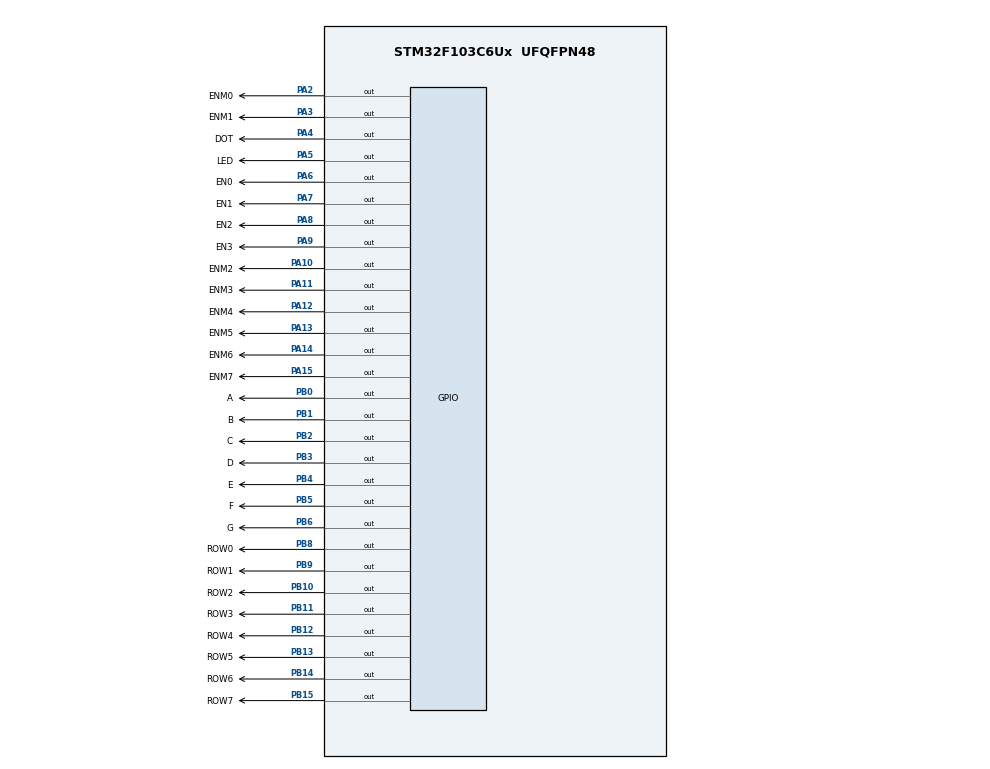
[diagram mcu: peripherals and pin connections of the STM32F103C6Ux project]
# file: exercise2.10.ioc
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Mcu.Family=STM32F1
Mcu.Name=STM32F103C6Ux
Mcu.Package=UFQFPN48
NVIC.PriorityGroup=NVIC_PRIORITYGROUP_4
NVIC.TIM2_IRQn=true\:0\:0\:false\:false\:true\:true\:true
PA10.GPIO_Label=ENM2
PA10.Signal=GPIO_Output
PA11.GPIO_Label=ENM3
PA11.Signal=GPIO_Output
PA12.GPIO_Label=ENM4
PA12.Signal=GPIO_Output
PA13.GPIO_Label=ENM5
PA13.Signal=GPIO_Output
PA14.GPIO_Label=ENM6
PA14.Signal=GPIO_Output
PA15.GPIO_Label=ENM7
PA15.Signal=GPIO_Output
PA2.GPIO_Label=ENM0
PA2.Signal=GPIO_Output
PA3.GPIO_Label=ENM1
PA3.Signal=GPIO_Output
PA4.GPIO_Label=DOT
PA4.Signal=GPIO_Output
PA5.GPIO_Label=LED
PA5.Signal=GPIO_Output
PA6.GPIO_Label=EN0
PA6.Signal=GPIO_Output
PA7.GPIO_Label=EN1
PA7.Signal=GPIO_Output
PA8.GPIO_Label=EN2
PA8.Signal=GPIO_Output
PA9.GPIO_Label=EN3
PA9.Signal=GPIO_Output
PB0.GPIO_Label=A
PB0.Signal=GPIO_Output
PB1.GPIO_Label=B
PB1.Signal=GPIO_Output
PB10.GPIO_Label=ROW2
PB10.Signal=GPIO_Output
PB11.GPIO_Label=ROW3
PB11.Signal=GPIO_Output
PB12.GPIO_Label=ROW4
PB12.Signal=GPIO_Output
PB13.GPIO_Label=ROW5
PB13.Signal=GPIO_Output
PB14.GPIO_Label=ROW6
PB14.Signal=GPIO_Output
PB15.GPIO_Label=ROW7
PB15.Signal=GPIO_Output
PB2.GPIO_Label=C
PB2.Signal=GPIO_Output
PB3.GPIO_Label=D
PB3.Signal=GPIO_Output
PB4.GPIO_Label=E
PB4.Signal=GPIO_Output
PB5.GPIO_Label=F
PB5.Signal=GPIO_Output
PB6.GPIO_Label=G
PB6.Signal=GPIO_Output
PB8.GPIO_Label=ROW0
PB8.Signal=GPIO_Output
PB9.GPIO_Label=ROW1
PB9.Signal=GPIO_Output
ProjectManager.HeapSize=0x200
ProjectManager.StackSize=0x400
ProjectManager.TargetToolchain=STM32CubeIDE
RCC.APB1Freq_Value=8000000
RCC.APB2Freq_Value=8000000
TIM2.Period=9
TIM2.Prescaler=7999
VP_SYS_VS_ND.Mode=No_Debug
VP_TIM2_VS_ClockSourceINT.Mode=Internal
board=custom

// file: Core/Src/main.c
/* USER CODE BEGIN Header */
/**
  ******************************************************************************
  * @file           : main.c
  * @brief          : Main program body
  ******************************************************************************
  * @attention
  *
  * <h2><center>&copy; Copyright (c) 2025 STMicroelectronics.
  * All rights reserved.</center></h2>
  *
  * This software component is licensed by ST under BSD 3-Clause license,
  * the "License"; You may not use this file except in compliance with the
  * License. You may obtain a copy of the License at:
  *                        opensource.org/licenses/BSD-3-Clause
  *
  ******************************************************************************
  */
/* USER CODE END Header */
#include "main.h"

TIM_HandleTypeDef htim2;

/* USER CODE BEGIN PV */
void display7SEG(int num);
void update7SEG(int num);
void updateClockBuffer(int hour, int minute);
int timer_matrix_counter = 0;
int timer_matrix_flag = 0;
const int TIMER_CYCLE = 10;
void setTimerMatrix(int duration){
    timer_matrix_counter = duration / TIMER_CYCLE;
    timer_matrix_flag = 0;
}

void timer_matrix_run(){
    if(timer_matrix_counter > 0){
        timer_matrix_counter--;
        if(timer_matrix_counter == 0) timer_matrix_flag = 1;
    }
}

int scroll_offset = 0;
int scroll_direction = 1;
/* USER CODE END PV */

void SystemClock_Config(void);
static void MX_GPIO_Init(void);
static void MX_TIM2_Init(void);

/* USER CODE BEGIN 0 */
const uint8_t seg_table[10]={
			0b1000000,
			0b1111001,
			0b0100100,
			0b0110000,
			0b0011001,
			0b0010010,
			0b0000010,
			0b1111000,
			0b0000000,
			0b0010000
};
uint16_t seg_pins[7] ={A_Pin, B_Pin, C_Pin, D_Pin, E_Pin, F_Pin, G_Pin};
int timer0_counter =0;
int timer0_flag =0;
int timer1_counter =0;
int timer1_flag = 0;
const int MAX_LED = 4;
int led_index =0;
int shift_count = 0;
int led_buffer[4] = {0,0,0,0};
void setTimer0(int duration){
	timer0_counter = duration/ TIMER_CYCLE;
	timer0_flag =0;
}
void setTimer1(int duration){
	timer1_counter = duration / TIMER_CYCLE;
	timer1_flag = 0;
}
void timer_run(){
	if(timer0_counter >0){
		timer0_counter--;
		if(timer0_counter ==0) timer0_flag =1;
	}
	if(timer1_counter >0){
		timer1_counter--;
		if(timer1_counter ==0) timer1_flag =1;
	}
}
const int MAX_LED_MATRIX =8;
int led_index_matrix =0;
uint8_t matrix_buffer[8] ={
		  0b00011000,
		  0b00111100,
		  0b01100110,
		  0b01100110,
		  0b01111110,
		  0b01111110,
		  0b01100110,
		  0b01100110
};

uint8_t temp_buffer[3];
uint16_t row_pins[8] = {
  ROW0_Pin, ROW1_Pin, ROW2_Pin, ROW3_Pin,
  ROW4_Pin, ROW5_Pin, ROW6_Pin, ROW7_Pin
};
uint16_t col_pins[8] = {
  ENM0_Pin, ENM1_Pin, ENM2_Pin, ENM3_Pin,
  ENM4_Pin, ENM5_Pin, ENM6_Pin, ENM7_Pin
};
void updateLEDMatrix(int index){
	 HAL_GPIO_WritePin(GPIOA, ENM0_Pin|ENM1_Pin|ENM2_Pin|ENM3_Pin|
	                              ENM4_Pin|ENM5_Pin|ENM6_Pin|ENM7_Pin, SET);

	 for(int row=0; row<8; row++){
		 if(matrix_buffer[index] & (1<<row)){
			 HAL_GPIO_WritePin(GPIOB, row_pins[row], RESET);
		 }else{
			 HAL_GPIO_WritePin(GPIOB, row_pins[row], SET);
		 }
	 }
	switch(index){

	case 0:
		HAL_GPIO_WritePin(GPIOA, ENM0_Pin, RESET);
		break;
	case 1:
		HAL_GPIO_WritePin(GPIOA, ENM1_Pin, RESET);
				break;
	case 2:
		HAL_GPIO_WritePin(GPIOA, ENM2_Pin, RESET);
				break;
	case 3:
		HAL_GPIO_WritePin(GPIOA, ENM3_Pin, RESET);
				break;
	case 4:
		HAL_GPIO_WritePin(GPIOA, ENM4_Pin, RESET);
				break;
	case 5:
		HAL_GPIO_WritePin(GPIOA, ENM5_Pin, RESET);
				break;
	case 6:
		HAL_GPIO_WritePin(GPIOA, ENM6_Pin, RESET);
				break;
	case 7:
		HAL_GPIO_WritePin(GPIOA, ENM7_Pin, RESET);
				break;
	default:
		break;
	}
}

void shiftleft(){
	uint8_t first  = matrix_buffer[0];

	for(int i = 0; i < 7; i++){
		matrix_buffer[i] = matrix_buffer[i+1];
	}
	matrix_buffer[0] = temp_buffer[2];

	for(int i = 0; i < 2; i++){
		temp_buffer[i] = temp_buffer[i+1];
	}
	temp_buffer[2] = first;
}
/* USER CODE END 0 */

int main(void)
{

  /* MCU Configuration--------------------------------------------------------*/

  /* Reset of all peripherals, Initializes the Flash interface and the Systick. */
  HAL_Init();

  /* Configure the system clock */
  SystemClock_Config();

  /* Initialize all configured peripherals */
  MX_GPIO_Init();
  MX_TIM2_Init();
  /* USER CODE BEGIN 2 */
  HAL_TIM_Base_Start_IT(&htim2);
       setTimer0(300);
       setTimer1(250);
       setTimerMatrix(300);
  /* USER CODE END 2 */

  /* Infinite loop */
  /* USER CODE BEGIN WHILE */
    int hour =15, minute = 8, second = 50;
    while (1)
    {
        if (timer_matrix_flag == 1) {
            timer_matrix_flag = 0;
            setTimerMatrix(300);

            shiftleft();

            updateLEDMatrix(led_index_matrix);
            led_index_matrix++;
            if (led_index_matrix >= MAX_LED_MATRIX) led_index_matrix = 0;
        }

        if (timer1_flag == 1) {
            timer1_flag = 0;
            setTimer1(250);

            update7SEG(led_index);
            led_index++;
            if (led_index >= MAX_LED) led_index = 0;
        }

        if (timer0_flag == 1) {
            timer0_flag = 0;
            setTimer0(1000);
            second++;
            if (second >= 60) {
                second = 0;
                minute++;
                if (minute >= 60) {
                    minute = 0;
                    hour++;
                    if (hour >= 24) hour = 0;
                }
            }
            updateClockBuffer(hour, minute);
            HAL_GPIO_TogglePin(GPIOA, LED_Pin);
            HAL_GPIO_TogglePin(GPIOA, DOT_Pin);
        }
    }

}
  /* USER CODE END 3 */

void SystemClock_Config(void)
{
  RCC_OscInitTypeDef RCC_OscInitStruct = {0};
  RCC_ClkInitTypeDef RCC_ClkInitStruct = {0};

  /** Initializes the RCC Oscillators according to the specified parameters
  * in the RCC_OscInitTypeDef structure.
  */
  RCC_OscInitStruct.OscillatorType = RCC_OSCILLATORTYPE_HSI;
  RCC_OscInitStruct.HSIState = RCC_HSI_ON;
  RCC_OscInitStruct.HSICalibrationValue = RCC_HSICALIBRATION_DEFAULT;
  RCC_OscInitStruct.PLL.PLLState = RCC_PLL_NONE;
  if (HAL_RCC_OscConfig(&RCC_OscInitStruct) != HAL_OK)
  {
    Error_Handler();
  }
  /** Initializes the CPU, AHB and APB buses clocks
  */
  RCC_ClkInitStruct.ClockType = RCC_CLOCKTYPE_HCLK|RCC_CLOCKTYPE_SYSCLK
                              |RCC_CLOCKTYPE_PCLK1|RCC_CLOCKTYPE_PCLK2;
  RCC_ClkInitStruct.SYSCLKSource = RCC_SYSCLKSOURCE_HSI;
  RCC_ClkInitStruct.AHBCLKDivider = RCC_SYSCLK_DIV1;
  RCC_ClkInitStruct.APB1CLKDivider = RCC_HCLK_DIV1;
  RCC_ClkInitStruct.APB2CLKDivider = RCC_HCLK_DIV1;

  if (HAL_RCC_ClockConfig(&RCC_ClkInitStruct, FLASH_LATENCY_0) != HAL_OK)
  {
    Error_Handler();
  }
}

static void MX_TIM2_Init(void)
{

  TIM_ClockConfigTypeDef sClockSourceConfig = {0};
  TIM_MasterConfigTypeDef sMasterConfig = {0};

  htim2.Instance = TIM2;
  htim2.Init.Prescaler = 7999;
  htim2.Init.CounterMode = TIM_COUNTERMODE_UP;
  htim2.Init.Period = 9;
  htim2.Init.ClockDivision = TIM_CLOCKDIVISION_DIV1;
  htim2.Init.AutoReloadPreload = TIM_AUTORELOAD_PRELOAD_DISABLE;
  if (HAL_TIM_Base_Init(&htim2) != HAL_OK)
  {
    Error_Handler();
  }
  sClockSourceConfig.ClockSource = TIM_CLOCKSOURCE_INTERNAL;
  if (HAL_TIM_ConfigClockSource(&htim2, &sClockSourceConfig) != HAL_OK)
  {
    Error_Handler();
  }
  sMasterConfig.MasterOutputTrigger = TIM_TRGO_RESET;
  sMasterConfig.MasterSlaveMode = TIM_MASTERSLAVEMODE_DISABLE;
  if (HAL_TIMEx_MasterConfigSynchronization(&htim2, &sMasterConfig) != HAL_OK)
  {
    Error_Handler();
  }

}

static void MX_GPIO_Init(void)
{
  GPIO_InitTypeDef GPIO_InitStruct = {0};

  /* GPIO Ports Clock Enable */
  __HAL_RCC_GPIOA_CLK_ENABLE();
  __HAL_RCC_GPIOB_CLK_ENABLE();

  /*Configure GPIO pin Output Level */
  HAL_GPIO_WritePin(GPIOA, ENM0_Pin|ENM1_Pin|DOT_Pin|LED_Pin
                          |EN0_Pin|EN1_Pin|EN2_Pin|EN3_Pin
                          |ENM2_Pin|ENM3_Pin|ENM4_Pin|ENM5_Pin
                          |ENM6_Pin|ENM7_Pin, GPIO_PIN_RESET);

  /*Configure GPIO pin Output Level */
  HAL_GPIO_WritePin(GPIOB, A_Pin|B_Pin|C_Pin|ROW2_Pin
                          |ROW3_Pin|ROW4_Pin|ROW5_Pin|ROW6_Pin
                          |ROW7_Pin|D_Pin|E_Pin|F_Pin
                          |G_Pin|ROW0_Pin|ROW1_Pin, GPIO_PIN_RESET);

  /*Configure GPIO pins : ENM0_Pin ENM1_Pin DOT_Pin LED_Pin
                           EN0_Pin EN1_Pin EN2_Pin EN3_Pin
                           ENM2_Pin ENM3_Pin ENM4_Pin ENM5_Pin
                           ENM6_Pin ENM7_Pin */
  GPIO_InitStruct.Pin = ENM0_Pin|ENM1_Pin|DOT_Pin|LED_Pin
                          |EN0_Pin|EN1_Pin|EN2_Pin|EN3_Pin
                          |ENM2_Pin|ENM3_Pin|ENM4_Pin|ENM5_Pin
                          |ENM6_Pin|ENM7_Pin;
  GPIO_InitStruct.Mode = GPIO_MODE_OUTPUT_PP;
  GPIO_InitStruct.Pull = GPIO_NOPULL;
  GPIO_InitStruct.Speed = GPIO_SPEED_FREQ_LOW;
  HAL_GPIO_Init(GPIOA, &GPIO_InitStruct);

  /*Configure GPIO pins : A_Pin B_Pin C_Pin ROW2_Pin
                           ROW3_Pin ROW4_Pin ROW5_Pin ROW6_Pin
                           ROW7_Pin D_Pin E_Pin F_Pin
                           G_Pin ROW0_Pin ROW1_Pin */
  GPIO_InitStruct.Pin = A_Pin|B_Pin|C_Pin|ROW2_Pin
                          |ROW3_Pin|ROW4_Pin|ROW5_Pin|ROW6_Pin
                          |ROW7_Pin|D_Pin|E_Pin|F_Pin
                          |G_Pin|ROW0_Pin|ROW1_Pin;
  GPIO_InitStruct.Mode = GPIO_MODE_OUTPUT_PP;
  GPIO_InitStruct.Pull = GPIO_NOPULL;
  GPIO_InitStruct.Speed = GPIO_SPEED_FREQ_LOW;
  HAL_GPIO_Init(GPIOB, &GPIO_InitStruct);

}

/* USER CODE BEGIN 4 */
void HAL_TIM_PeriodElapsedCallback(TIM_HandleTypeDef *htim){
    if(htim->Instance == TIM2){
        timer_run();
        timer_matrix_run();

        updateLEDMatrix(led_index_matrix);
        led_index_matrix++;
        if(led_index_matrix >= MAX_LED_MATRIX) led_index_matrix = 0;
    }
}
void display7SEG(int num){
	uint8_t pattern= seg_table[num];
		for(int i=0; i< 7; i++){
			if( pattern & (1<<i) )
				HAL_GPIO_WritePin(GPIOB, seg_pins[i], SET);
			else
				HAL_GPIO_WritePin(GPIOB, seg_pins[i], RESET);
		}
}
void update7SEG(int index){
	HAL_GPIO_WritePin(GPIOA, EN0_Pin | EN1_Pin | EN2_Pin | EN3_Pin, SET);
	  if(index < 0 || index >= MAX_LED) return;
	  display7SEG( led_buffer[index] );
	switch (index){
	case 0:
		HAL_GPIO_WritePin(GPIOA, EN0_Pin, RESET);
		break;
	case 1:
		HAL_GPIO_WritePin(GPIOA, EN1_Pin, RESET);
		break;
	case 2:
		HAL_GPIO_WritePin(GPIOA, EN2_Pin, RESET);
		break;
	case 3:
		HAL_GPIO_WritePin(GPIOA, EN3_Pin, RESET);
		break;
	default:
		break;
	}
}
void updateClockBuffer(int hour, int minute){
	 	if(hour < 0) hour = 0;
	    if(minute < 0) minute = 0;
	    led_buffer[0] = (hour / 10) % 10;
	    led_buffer[1] = hour % 10;
	    led_buffer[2] = (minute / 10) % 10;
	    led_buffer[3] = minute % 10;
}
/* USER CODE END 4 */

void Error_Handler(void)
{
  __disable_irq();
  while (1)
  {
  }
}

/************************ (C) COPYRIGHT STMicroelectronics *****END OF FILE****/
